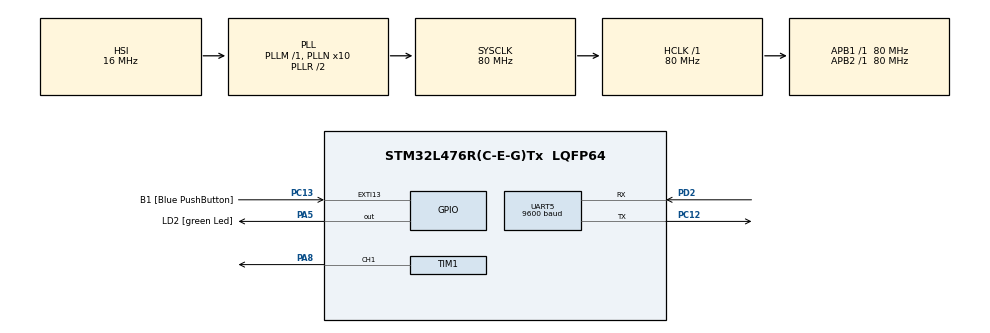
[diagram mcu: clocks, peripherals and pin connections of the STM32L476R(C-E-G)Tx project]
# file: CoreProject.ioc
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Mcu.Family=STM32L4
Mcu.Name=STM32L476R(C-E-G)Tx
Mcu.Package=LQFP64
NVIC.PriorityGroup=NVIC_PRIORITYGROUP_4
NVIC.TIM2_IRQn=true\:0\:0\:false\:false\:true\:true\:true\:true
NVIC.UART5_IRQn=true\:0\:0\:false\:false\:true\:true\:true\:true
PA13\ (JTMS-SWDIO).GPIO_Label=TMS
PA13\ (JTMS-SWDIO).Mode=Serial_Wire
PA13\ (JTMS-SWDIO).Signal=SYS_JTMS-SWDIO
PA14\ (JTCK-SWCLK).GPIO_Label=TCK
PA14\ (JTCK-SWCLK).Mode=Serial_Wire
PA14\ (JTCK-SWCLK).Signal=SYS_JTCK-SWCLK
PA5.GPIO_Label=LD2 [green Led]
PA5.GPIO_ModeDefaultOutputPP=GPIO_MODE_OUTPUT_PP
PA5.GPIO_PuPd=GPIO_NOPULL
PA5.GPIO_Speed=GPIO_SPEED_FREQ_LOW
PA5.Signal=GPIO_Output
PA8.Signal=S_TIM1_CH1
PB3\ (JTDO-TRACESWO).GPIO_Label=SWO
PB3\ (JTDO-TRACESWO).Signal=SYS_JTDO-SWO
PC12.Mode=Asynchronous
PC12.Signal=UART5_TX
PC13.GPIO_Label=B1 [Blue PushButton]
PC13.GPIO_ModeDefaultEXTI=GPIO_MODE_IT_FALLING
PC13.GPIO_PuPd=GPIO_NOPULL
PC13.Signal=GPXTI13
PC14-OSC32_IN\ (PC14).Mode=LSE-External-Oscillator
PC14-OSC32_IN\ (PC14).Signal=RCC_OSC32_IN
PC15-OSC32_OUT\ (PC15).Mode=LSE-External-Oscillator
PC15-OSC32_OUT\ (PC15).Signal=RCC_OSC32_OUT
PD2.Mode=Asynchronous
PD2.Signal=UART5_RX
PH0-OSC_IN\ (PH0).Signal=RCC_OSC_IN
PH1-OSC_OUT\ (PH1).Signal=RCC_OSC_OUT
ProjectManager.HeapSize=0x200
ProjectManager.StackSize=0x400
ProjectManager.TargetToolchain=STM32CubeIDE
RCC.ADCFreq_Value=64000000
RCC.AHBFreq_Value=80000000
RCC.APB1Freq_Value=80000000
RCC.APB1TimFreq_Value=80000000
RCC.APB2Freq_Value=80000000
RCC.APB2TimFreq_Value=80000000
RCC.CortexFreq_Value=80000000
RCC.HCLKFreq_Value=80000000
RCC.HSE_VALUE=8000000
RCC.HSI_VALUE=16000000
RCC.MSI_VALUE=4000000
RCC.PLLN=10
RCC.PLLSourceVirtual=RCC_PLLSOURCE_HSI
RCC.PREFETCH_ENABLE=1
RCC.SYSCLKFreq_VALUE=80000000
RCC.SYSCLKSource=RCC_SYSCLKSOURCE_PLLCLK
RCC.USBFreq_Value=64000000
RCC.VCOOutputFreq_Value=160000000
SH.S_TIM1_CH1.0=TIM1_CH1,PWM Generation1 CH1
TIM1.Channel-PWM\ Generation1\ CH1=TIM_CHANNEL_1
TIM1.Period=20000
TIM1.Prescaler=80
TIM2.Period=100
TIM2.Prescaler=4000
UART5.BaudRate=9600
VP_TIM1_VS_ClockSourceINT.Mode=Internal
VP_TIM2_VS_ClockSourceINT.Mode=Internal
board=NUCLEO-L476RG

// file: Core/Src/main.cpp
/* USER CODE BEGIN Header */
/**
 ******************************************************************************
 * @file           : main.c
 * @brief          : Main program body
 ******************************************************************************
 * @attention
 *
 * Copyright (c) 2026 STMicroelectronics.
 * All rights reserved.
 *
 * This software is licensed under terms that can be found in the LICENSE file
 * in the root directory of this software component.
 * If no LICENSE file comes with this software, it is provided AS-IS.
 *
 ******************************************************************************
 */
/* USER CODE END Header */
#include "main.h"

/* USER CODE BEGIN Includes */
#include "MessageStructs/GNSSMeasurements.h"
#include "StaticVector.h"
#include "EventsManagement.h"
#include "Worker.h"
#include "Sensors/Imu.h"
#include "Interfaces/UARTInterface.h"
#include "Filtering/ImuUKF.h"
#include "Actuators/Motor.h"
/* USER CODE END Includes */

TIM_HandleTypeDef htim1;
TIM_HandleTypeDef htim2;

UART_HandleTypeDef huart5;

/* USER CODE BEGIN PV */
UARTInterface<500, 3> uartInterface= UARTInterface<500, 3>(&huart5);
MotorConfig servoConfig= {
		.motorType= SERVO_MOTOR,
		.isInClosedLoop= false,
		.pwmSignal= &htim1,
		.pwmChannels= {TIM_CHANNEL_1},
		.acceleration= 3.0,
		.angleRange= 270,
		.minDutyCycle= 0.5/20.0,
		.maxDutyCycle= 2.5/20.0,
};
Motor servoMotor= Motor(servoConfig, 50, 5);
/*WmIMUCodec imuCodec= WmIMUCodec();
IMU imu = IMU(50, &imuCodec, true, 667, 1, 1);
ImuUKF ukf= ImuUKF(StaticVector<float>({1.0, 0.0, 0.0, 0.0}, 4));*/
/* USER CODE END PV */

void SystemClock_Config(void);
static void MX_GPIO_Init(void);
static void MX_UART5_Init(void);
static void MX_TIM2_Init(void);
static void MX_TIM1_Init(void);

int main(void)
{

  /* MCU Configuration--------------------------------------------------------*/

  /* Reset of all peripherals, Initializes the Flash interface and the Systick. */
  HAL_Init();

  /* Configure the system clock */
  SystemClock_Config();

  /* Initialize all configured peripherals */
  MX_GPIO_Init();
  MX_UART5_Init();
  MX_TIM2_Init();
  MX_TIM1_Init();
  /* USER CODE BEGIN 2 */
	HAL_TIM_Base_Start_IT(&htim2);
	uartInterface.askPortListening();
	servoMotor.init();
	//IMU(Async) use the UART interface to get data from the Hardware sensor
	//imu.attachListeningQueryObserver(uartInterface.getQueryObserver());

  /* USER CODE END 2 */

  /* Infinite loop */
	while (1) {

	}
}

void SystemClock_Config(void)
{
  RCC_OscInitTypeDef RCC_OscInitStruct = {0};
  RCC_ClkInitTypeDef RCC_ClkInitStruct = {0};

  /** Configure the main internal regulator output voltage
  */
  if (HAL_PWREx_ControlVoltageScaling(PWR_REGULATOR_VOLTAGE_SCALE1) != HAL_OK)
  {
    Error_Handler();
  }

  /** Initializes the RCC Oscillators according to the specified parameters
  * in the RCC_OscInitTypeDef structure.
  */
  RCC_OscInitStruct.OscillatorType = RCC_OSCILLATORTYPE_HSI;
  RCC_OscInitStruct.HSIState = RCC_HSI_ON;
  RCC_OscInitStruct.HSICalibrationValue = RCC_HSICALIBRATION_DEFAULT;
  RCC_OscInitStruct.PLL.PLLState = RCC_PLL_ON;
  RCC_OscInitStruct.PLL.PLLSource = RCC_PLLSOURCE_HSI;
  RCC_OscInitStruct.PLL.PLLM = 1;
  RCC_OscInitStruct.PLL.PLLN = 10;
  RCC_OscInitStruct.PLL.PLLP = RCC_PLLP_DIV7;
  RCC_OscInitStruct.PLL.PLLQ = RCC_PLLQ_DIV2;
  RCC_OscInitStruct.PLL.PLLR = RCC_PLLR_DIV2;
  if (HAL_RCC_OscConfig(&RCC_OscInitStruct) != HAL_OK)
  {
    Error_Handler();
  }

  /** Initializes the CPU, AHB and APB buses clocks
  */
  RCC_ClkInitStruct.ClockType = RCC_CLOCKTYPE_HCLK|RCC_CLOCKTYPE_SYSCLK
                              |RCC_CLOCKTYPE_PCLK1|RCC_CLOCKTYPE_PCLK2;
  RCC_ClkInitStruct.SYSCLKSource = RCC_SYSCLKSOURCE_PLLCLK;
  RCC_ClkInitStruct.AHBCLKDivider = RCC_SYSCLK_DIV1;
  RCC_ClkInitStruct.APB1CLKDivider = RCC_HCLK_DIV1;
  RCC_ClkInitStruct.APB2CLKDivider = RCC_HCLK_DIV1;

  if (HAL_RCC_ClockConfig(&RCC_ClkInitStruct, FLASH_LATENCY_4) != HAL_OK)
  {
    Error_Handler();
  }
}

static void MX_TIM1_Init(void)
{

  TIM_ClockConfigTypeDef sClockSourceConfig = {0};
  TIM_MasterConfigTypeDef sMasterConfig = {0};
  TIM_OC_InitTypeDef sConfigOC = {0};
  TIM_BreakDeadTimeConfigTypeDef sBreakDeadTimeConfig = {0};

  htim1.Instance = TIM1;
  htim1.Init.Prescaler = 80;
  htim1.Init.CounterMode = TIM_COUNTERMODE_UP;
  htim1.Init.Period = 20000;
  htim1.Init.ClockDivision = TIM_CLOCKDIVISION_DIV1;
  htim1.Init.RepetitionCounter = 0;
  htim1.Init.AutoReloadPreload = TIM_AUTORELOAD_PRELOAD_DISABLE;
  if (HAL_TIM_Base_Init(&htim1) != HAL_OK)
  {
    Error_Handler();
  }
  sClockSourceConfig.ClockSource = TIM_CLOCKSOURCE_INTERNAL;
  if (HAL_TIM_ConfigClockSource(&htim1, &sClockSourceConfig) != HAL_OK)
  {
    Error_Handler();
  }
  if (HAL_TIM_PWM_Init(&htim1) != HAL_OK)
  {
    Error_Handler();
  }
  sMasterConfig.MasterOutputTrigger = TIM_TRGO_RESET;
  sMasterConfig.MasterOutputTrigger2 = TIM_TRGO2_RESET;
  sMasterConfig.MasterSlaveMode = TIM_MASTERSLAVEMODE_DISABLE;
  if (HAL_TIMEx_MasterConfigSynchronization(&htim1, &sMasterConfig) != HAL_OK)
  {
    Error_Handler();
  }
  sConfigOC.OCMode = TIM_OCMODE_PWM1;
  sConfigOC.Pulse = 0;
  sConfigOC.OCPolarity = TIM_OCPOLARITY_HIGH;
  sConfigOC.OCNPolarity = TIM_OCNPOLARITY_HIGH;
  sConfigOC.OCFastMode = TIM_OCFAST_DISABLE;
  sConfigOC.OCIdleState = TIM_OCIDLESTATE_RESET;
  sConfigOC.OCNIdleState = TIM_OCNIDLESTATE_RESET;
  if (HAL_TIM_PWM_ConfigChannel(&htim1, &sConfigOC, TIM_CHANNEL_1) != HAL_OK)
  {
    Error_Handler();
  }
  sBreakDeadTimeConfig.OffStateRunMode = TIM_OSSR_DISABLE;
  sBreakDeadTimeConfig.OffStateIDLEMode = TIM_OSSI_DISABLE;
  sBreakDeadTimeConfig.LockLevel = TIM_LOCKLEVEL_OFF;
  sBreakDeadTimeConfig.DeadTime = 0;
  sBreakDeadTimeConfig.BreakState = TIM_BREAK_DISABLE;
  sBreakDeadTimeConfig.BreakPolarity = TIM_BREAKPOLARITY_HIGH;
  sBreakDeadTimeConfig.BreakFilter = 0;
  sBreakDeadTimeConfig.Break2State = TIM_BREAK2_DISABLE;
  sBreakDeadTimeConfig.Break2Polarity = TIM_BREAK2POLARITY_HIGH;
  sBreakDeadTimeConfig.Break2Filter = 0;
  sBreakDeadTimeConfig.AutomaticOutput = TIM_AUTOMATICOUTPUT_DISABLE;
  if (HAL_TIMEx_ConfigBreakDeadTime(&htim1, &sBreakDeadTimeConfig) != HAL_OK)
  {
    Error_Handler();
  }
  HAL_TIM_MspPostInit(&htim1);

}

static void MX_TIM2_Init(void)
{

  TIM_ClockConfigTypeDef sClockSourceConfig = {0};
  TIM_MasterConfigTypeDef sMasterConfig = {0};

  htim2.Instance = TIM2;
  htim2.Init.Prescaler = 4000;
  htim2.Init.CounterMode = TIM_COUNTERMODE_UP;
  htim2.Init.Period = 100;
  htim2.Init.ClockDivision = TIM_CLOCKDIVISION_DIV1;
  htim2.Init.AutoReloadPreload = TIM_AUTORELOAD_PRELOAD_DISABLE;
  if (HAL_TIM_Base_Init(&htim2) != HAL_OK)
  {
    Error_Handler();
  }
  sClockSourceConfig.ClockSource = TIM_CLOCKSOURCE_INTERNAL;
  if (HAL_TIM_ConfigClockSource(&htim2, &sClockSourceConfig) != HAL_OK)
  {
    Error_Handler();
  }
  sMasterConfig.MasterOutputTrigger = TIM_TRGO_RESET;
  sMasterConfig.MasterSlaveMode = TIM_MASTERSLAVEMODE_DISABLE;
  if (HAL_TIMEx_MasterConfigSynchronization(&htim2, &sMasterConfig) != HAL_OK)
  {
    Error_Handler();
  }

}

static void MX_UART5_Init(void)
{

  huart5.Instance = UART5;
  huart5.Init.BaudRate = 9600;
  huart5.Init.WordLength = UART_WORDLENGTH_8B;
  huart5.Init.StopBits = UART_STOPBITS_1;
  huart5.Init.Parity = UART_PARITY_NONE;
  huart5.Init.Mode = UART_MODE_TX_RX;
  huart5.Init.HwFlowCtl = UART_HWCONTROL_NONE;
  huart5.Init.OverSampling = UART_OVERSAMPLING_16;
  huart5.Init.OneBitSampling = UART_ONE_BIT_SAMPLE_DISABLE;
  huart5.AdvancedInit.AdvFeatureInit = UART_ADVFEATURE_NO_INIT;
  if (HAL_UART_Init(&huart5) != HAL_OK)
  {
    Error_Handler();
  }

}

static void MX_GPIO_Init(void)
{
  GPIO_InitTypeDef GPIO_InitStruct = {0};

  /* GPIO Ports Clock Enable */
  __HAL_RCC_GPIOC_CLK_ENABLE();
  __HAL_RCC_GPIOH_CLK_ENABLE();
  __HAL_RCC_GPIOA_CLK_ENABLE();
  __HAL_RCC_GPIOD_CLK_ENABLE();
  __HAL_RCC_GPIOB_CLK_ENABLE();

  /*Configure GPIO pin Output Level */
  HAL_GPIO_WritePin(LD2_GPIO_Port, LD2_Pin, GPIO_PIN_RESET);

  /*Configure GPIO pin : B1_Pin */
  GPIO_InitStruct.Pin = B1_Pin;
  GPIO_InitStruct.Mode = GPIO_MODE_IT_FALLING;
  GPIO_InitStruct.Pull = GPIO_NOPULL;
  HAL_GPIO_Init(B1_GPIO_Port, &GPIO_InitStruct);

  /*Configure GPIO pin : LD2_Pin */
  GPIO_InitStruct.Pin = LD2_Pin;
  GPIO_InitStruct.Mode = GPIO_MODE_OUTPUT_PP;
  GPIO_InitStruct.Pull = GPIO_NOPULL;
  GPIO_InitStruct.Speed = GPIO_SPEED_FREQ_LOW;
  HAL_GPIO_Init(LD2_GPIO_Port, &GPIO_InitStruct);

}

/* USER CODE BEGIN 4 */
void HAL_UART_RxCpltCallback(UART_HandleTypeDef *huart) {
	if (huart == &huart5) {
		//uartInterface.processFrame();
		uartInterface.readFrameAsync();
	}
}

void HAL_TIM_PeriodElapsedCallback(TIM_HandleTypeDef *htim) {
	MotorState dummySetpoint= {};
	dummySetpoint.setAngle(200);
	servoMotor.applySetpoint(dummySetpoint);
	servoMotor.startWorkerTask();
	/*GNSSMeasurements<500> measurement;
	measurement.fillFromFrame(uartInterface.getBuffer());
	//GNSSMeasurements* measurements= (GNSSMeasurements*)gnssCodec.decode(uartInterface.getBuffer());
	uartInterface.askPortListening();*/

	/*ImuMeasurements* measurements= (ImuMeasurements*)imuCodec.decode(uartInterface.getBuffer());
	if (measurements != nullptr) {
		StaticVector<float> refSensorMeasurements= StaticVector<float>(measurements->getAccelerometer(),
																		measurements->getAccelerometer().capacity() + measurements->getMagnetometer().capacity());
		refSensorMeasurements.push_range(measurements->getMagnetometer());
		ukf.runFiltering(measurements->getGyroscope(), refSensorMeasurements);
	}*/
	//imu.startWorkerTask();
}
/* USER CODE END 4 */

void Error_Handler(void)
{
	__disable_irq();
	while (1) {
	}
}
